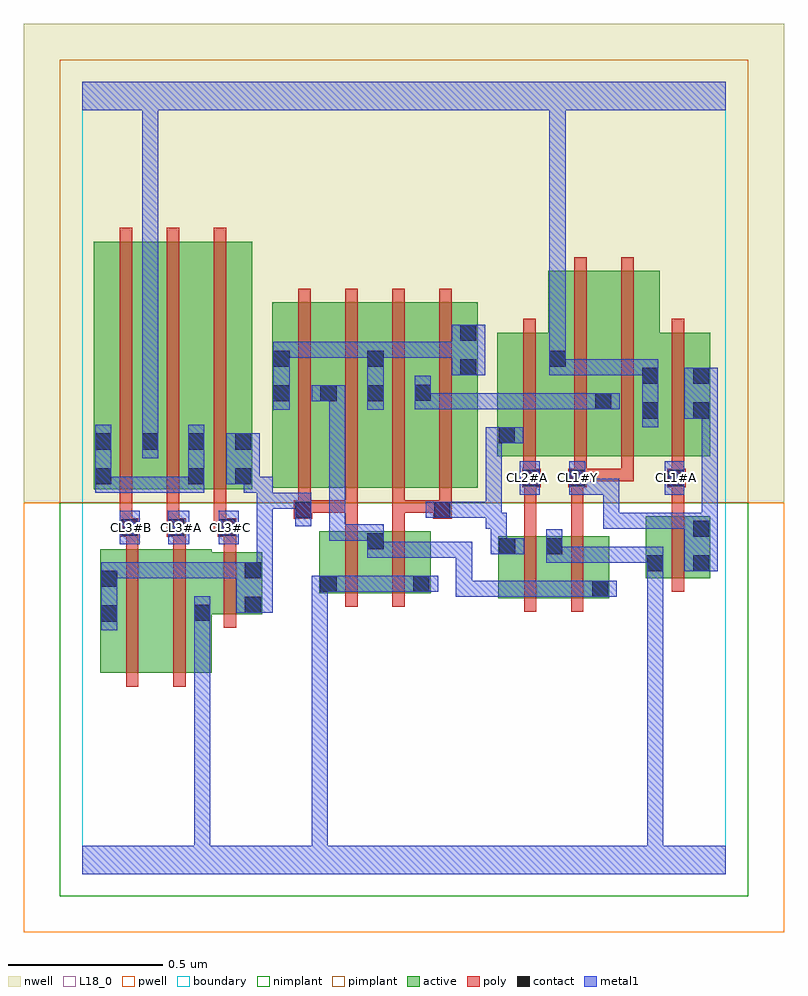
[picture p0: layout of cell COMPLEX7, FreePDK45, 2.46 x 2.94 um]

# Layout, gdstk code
import gdstk
lib = gdstk.Library(unit=1e-6, precision=1e-09)
def R(c, l, rs):  # rectangles x0, y0, x1, y1
    for r in rs: c.add(gdstk.rectangle(r[:2], r[2:], *l))
def A(c, l, x, y, w, h, nx, ny, dx, dy):  # array of equal rectangles
    R(c, l, [(x+i*dx, y+j*dy, x+i*dx+w, y+j*dy+h) for i in range(nx) for j in range(ny)])
active = (1, 0)
pwell = (2, 0)
nwell = (3, 0)
nimplant = (4, 0)
pimplant = (5, 0)
poly = (9, 0)
contact = (10, 0)
metal1 = (11, 0)
L18_0 = (18, 0)
boundary = (235, 0)

complex7 = lib.new_cell('COMPLEX7')
A(complex7, active, 0.614, 1.248, 0.212, 0.6, 3, 1, 0.152, 0)
A(complex7, active, 0.614, 1.248, 0.06, 0.596, 4, 1, 0.152, 0)
R(complex7, active, [(0.058,0.65,0.238,1.05), (0.238,0.65,0.418,1.05), (0.358,0.65,0.418,1.04), (0.058,0.756,0.118,1.05), (0.358,0.84,0.582,1.04), (0.522,0.84,0.582,1.04), (1.344,0.892,1.556,1.092), (1.496,0.892,1.704,1.092), (1.644,0.892,1.704,1.092), (0.766,0.908,0.826,1.108), (0.766,0.908,0.978,1.108), (0.918,0.908,1.126,1.108), (1.066,0.908,1.126,1.108), (0.918,0.956,0.978,1.106), (1.344,0.956,1.404,1.092), (1.496,0.956,1.556,1.092), (1.822,0.956,1.882,1.156), (1.822,0.956,2.03,1.156), (1.97,0.956,2.03,1.156), (0.038,1.244,0.098,2.044), (0.038,1.244,0.25,2.044), (0.19,1.244,0.25,2.044), (0.19,1.244,0.398,2.044), (0.338,1.244,0.398,2.044), (0.338,1.244,0.55,2.044), (0.49,1.244,0.55,2.044), (1.07,1.248,1.278,1.848), (1.342,1.35,1.402,1.644), (1.342,1.35,1.566,1.75), (1.506,1.35,1.714,1.95), (1.654,1.35,1.866,1.95), (1.654,1.35,1.714,1.844), (1.806,1.35,1.866,1.644), (1.806,1.35,2.03,1.75), (1.97,1.35,2.03,1.644), (1.506,1.396,1.566,1.696), (1.218,1.452,1.278,1.844)])
R(complex7, pwell, [(-0.188,-0.188,2.268,1.2)])
R(complex7, nwell, [(-0.188,1.2,2.268,2.748)])
R(complex7, nimplant, [(-0.072,-0.072,2.152,1.2)])
R(complex7, pimplant, [(-0.072,1.2,2.152,2.632)])
A(complex7, poly, 0.122, 1.11, 0.04, 0.13, 3, 1, 0.152, 0)
A(complex7, poly, 0.698, 1.168, 0.04, 0.076, 4, 1, 0.152, 0)
A(complex7, poly, 0.122, 1.2, 0.04, 0.888, 3, 1, 0.152, 0)
A(complex7, poly, 0.698, 1.204, 0.04, 0.688, 4, 1, 0.152, 0)
R(complex7, poly, [(0.142,0.606,0.182,1.094), (0.294,0.606,0.334,1.094), (0.458,0.796,0.498,1.084), (1.428,0.848,1.468,1.136), (1.58,0.848,1.62,1.136), (0.85,0.864,0.89,1.152), (1.002,0.864,1.042,1.152), (1.906,0.912,1.946,1.2), (0.458,1.044,0.498,1.13), (0.142,1.054,0.182,1.13), (0.294,1.054,0.334,1.13), (0.122,1.09,0.182,1.15), (0.142,1.09,0.182,1.13), (0.142,1.09,0.182,1.13), (0.274,1.09,0.334,1.15), (0.294,1.09,0.334,1.13), (0.294,1.09,0.334,1.13), (0.438,1.09,0.498,1.15), (1.428,1.096,1.468,1.29), (1.58,1.096,1.62,1.29), (0.426,1.11,0.478,1.15), (0.438,1.11,0.478,1.15), (0.85,1.112,0.89,1.208), (1.002,1.112,1.042,1.208), (0.684,1.148,0.744,1.208), (1.134,1.148,1.194,1.208), (1.906,1.16,1.946,1.29), (0.704,1.168,0.89,1.208), (0.85,1.168,0.89,1.208), (0.85,1.168,0.89,1.208), (0.85,1.168,0.89,1.208), (0.85,1.168,0.89,1.208), (0.85,1.168,0.89,1.208), (1.002,1.168,1.042,1.208), (1.002,1.168,1.042,1.208), (1.002,1.168,1.042,1.208), (1.002,1.168,1.174,1.208), (1.134,1.168,1.174,1.208), (1.134,1.168,1.174,1.208), (1.422,1.25,1.482,1.31), (1.428,1.25,1.468,1.29), (1.428,1.25,1.468,1.29), (1.57,1.25,1.63,1.31), (1.89,1.25,1.95,1.31), (1.906,1.25,1.946,1.29), (1.906,1.25,1.946,1.29), (1.426,1.27,1.466,1.346), (1.59,1.27,1.63,1.346), (1.59,1.27,1.63,1.31), (1.59,1.27,1.63,1.31), (1.59,1.27,1.63,1.31), (1.59,1.27,1.63,1.31), (1.59,1.27,1.782,1.31), (1.742,1.27,1.782,1.346), (1.742,1.27,1.782,1.31), (1.906,1.27,1.946,1.346), (1.426,1.306,1.466,1.794), (1.59,1.306,1.63,1.994), (1.742,1.306,1.782,1.994), (1.906,1.306,1.946,1.794)])
A(complex7, contact, 0.618, 1.528, 0.052, 0.052, 3, 1, 0.152, 0)
R(complex7, contact, [(0.062,0.816,0.114,0.868), (0.362,0.818,0.414,0.87), (0.526,0.844,0.578,0.896), (1.648,0.896,1.7,0.948), (0.77,0.912,0.822,0.964), (1.07,0.912,1.122,0.964), (0.062,0.928,0.114,0.98), (0.526,0.956,0.578,1.008), (1.826,0.978,1.878,1.03), (1.974,0.978,2.026,1.03), (1.348,1.034,1.4,1.086), (1.5,1.034,1.552,1.086), (0.922,1.05,0.974,1.102), (1.974,1.09,2.026,1.142), (0.126,1.094,0.178,1.146), (0.278,1.094,0.33,1.146), (0.442,1.094,0.494,1.146), (0.688,1.152,0.74,1.204), (1.138,1.152,1.19,1.204), (1.426,1.254,1.478,1.306), (1.574,1.254,1.626,1.306), (1.894,1.254,1.946,1.306), (0.042,1.26,0.094,1.312), (0.342,1.26,0.394,1.312), (0.494,1.26,0.546,1.312), (0.042,1.372,0.094,1.424), (0.194,1.372,0.246,1.424), (0.342,1.372,0.394,1.424), (0.494,1.372,0.546,1.424), (1.346,1.392,1.398,1.444), (1.81,1.472,1.862,1.524), (1.974,1.472,2.026,1.524), (1.658,1.502,1.71,1.554), (1.074,1.53,1.126,1.582), (1.81,1.584,1.862,1.636), (1.974,1.584,2.026,1.636), (1.222,1.612,1.274,1.664), (0.618,1.64,0.67,1.692), (0.922,1.64,0.974,1.692), (1.51,1.64,1.562,1.692), (1.222,1.724,1.274,1.776)])
R(complex7, metal1, [(0,0,2.08,0.092), (0.362,0.04,0.414,0.092), (0.362,0.04,0.414,0.092), (0.362,0.04,0.414,0.092), (0.362,0.04,0.414,0.092), (0.362,0.04,0.414,0.092), (0.362,0.04,0.414,0.092), (0.362,0.04,0.414,0.092), (0.362,0.04,0.414,0.092), (0.362,0.04,0.414,0.092), (0.362,0.04,0.414,0.092), (0.362,0.04,0.414,0.842), (0.742,0.04,0.794,0.092), (0.742,0.04,0.794,0.092), (0.742,0.04,0.794,0.092), (0.742,0.04,0.794,0.092), (0.742,0.04,0.794,0.092), (0.742,0.04,0.794,0.092), (0.742,0.04,0.794,0.092), (0.742,0.04,0.794,0.092), (0.742,0.04,0.794,0.092), (0.742,0.04,0.794,0.092), (0.742,0.04,0.794,0.092), (0.742,0.04,0.794,0.092), (0.742,0.04,0.794,0.964), (1.826,0.04,1.878,0.092), (1.826,0.04,1.878,0.092), (1.826,0.04,1.878,0.092), (1.826,0.04,1.878,0.092), (1.826,0.04,1.878,0.092), (1.826,0.04,1.878,0.092), (1.826,0.04,1.878,0.092), (1.826,0.04,1.878,0.092), (1.826,0.04,1.878,0.092), (1.826,0.04,1.878,0.092), (1.826,0.04,1.878,0.092), (1.826,0.04,1.878,0.092), (1.826,0.04,1.878,0.092), (1.826,0.04,1.878,0.092), (1.826,0.04,1.878,0.092), (1.826,0.04,1.878,0.092), (1.826,0.04,1.878,1.002), (0.062,0.788,0.114,1.008), (0.362,0.79,0.414,0.842), (0.362,0.79,0.414,0.842), (0.362,0.79,0.414,0.898), (0.498,0.844,0.616,1.008), (1.208,0.896,1.26,0.948), (1.208,0.896,1.442,0.948), (1.208,0.896,1.26,1.074), (1.39,0.896,1.442,0.948), (1.39,0.896,1.442,0.948), (1.39,0.896,1.442,0.948), (1.39,0.896,1.562,0.948), (1.51,0.896,1.562,0.948), (1.51,0.896,1.562,0.948), (1.51,0.896,1.562,0.948), (1.51,0.896,1.672,0.948), (1.62,0.896,1.728,0.948), (0.742,0.912,0.794,0.964), (0.742,0.912,0.794,0.964), (0.742,0.912,0.794,0.964), (0.742,0.912,0.794,0.964), (0.742,0.912,0.85,0.964), (0.798,0.912,0.85,0.964), (0.798,0.912,0.85,0.964), (0.798,0.912,0.984,0.964), (0.932,0.912,0.984,0.964), (0.932,0.912,0.984,0.964), (0.932,0.912,0.984,0.964), (0.932,0.912,1.094,0.964), (1.042,0.912,1.15,0.964), (1.826,0.95,1.878,1.058), (0.062,0.956,0.114,1.008), (0.062,0.956,0.114,1.008), (0.062,0.956,0.224,1.008), (0.172,0.956,0.224,1.008), (0.172,0.956,0.224,1.008), (0.172,0.956,0.224,1.008), (0.172,0.956,0.408,1.008), (0.356,0.956,0.408,1.008), (0.356,0.956,0.408,1.008), (0.356,0.956,0.408,1.008), (0.356,0.956,0.55,1.008), (0.564,0.956,0.616,1.284), (1.946,0.978,2.054,1.142), (1.5,1.006,1.552,1.058), (1.5,1.006,1.552,1.058), (1.5,1.006,1.552,1.114), (1.5,1.006,1.672,1.058), (1.62,1.006,1.672,1.058), (1.62,1.006,1.808,1.058), (1.756,1.006,1.808,1.058), (1.756,1.006,1.878,1.058), (1.826,1.006,1.878,1.058), (1.826,1.006,1.878,1.058), (0.922,1.022,0.974,1.074), (0.922,1.022,0.974,1.074), (0.922,1.022,0.974,1.13), (0.922,1.022,1.136,1.074), (1.084,1.022,1.136,1.074), (1.084,1.022,1.136,1.074), (1.084,1.022,1.136,1.074), (1.084,1.022,1.26,1.074), (1.208,1.022,1.26,1.074), (1.32,1.034,1.428,1.086), (1.32,1.034,1.372,1.168), (0.122,1.066,0.186,1.174), (0.278,1.066,0.346,1.174), (0.442,1.066,0.506,1.174), (0.798,1.078,0.85,1.13), (0.798,1.078,0.85,1.13), (0.798,1.078,0.85,1.13), (0.798,1.078,0.974,1.13), (0.798,1.078,0.85,1.58), (2.002,1.09,2.054,1.168), (1.304,1.116,1.356,1.204), (1.304,1.116,1.372,1.168), (1.684,1.116,1.736,1.168), (1.684,1.116,1.736,1.168), (1.684,1.116,1.888,1.168), (1.684,1.116,1.736,1.278), (1.836,1.116,1.888,1.168), (1.836,1.116,2.054,1.168), (2.002,1.116,2.054,1.168), (2.002,1.116,2.054,1.168), (2.002,1.116,2.054,1.168), (2.002,1.116,2.054,1.524), (0.688,1.124,0.74,1.232), (1.11,1.152,1.218,1.204), (1.166,1.152,1.332,1.204), (1.28,1.152,1.332,1.204), (1.28,1.152,1.356,1.204), (1.304,1.152,1.356,1.204), (1.304,1.152,1.356,1.444), (0.564,1.18,0.74,1.232), (0.564,1.18,0.616,1.284), (1.414,1.226,1.478,1.334), (1.574,1.226,1.626,1.334), (1.574,1.226,1.736,1.278), (1.882,1.226,1.946,1.334), (0.042,1.232,0.094,1.284), (0.042,1.232,0.094,1.284), (0.042,1.232,0.094,1.452), (0.042,1.232,0.224,1.284), (0.172,1.232,0.224,1.284), (0.172,1.232,0.224,1.284), (0.172,1.232,0.224,1.284), (0.172,1.232,0.394,1.284), (0.342,1.232,0.394,1.452), (0.522,1.232,0.574,1.312), (0.522,1.232,0.616,1.284), (0.564,1.232,0.616,1.284), (0.564,1.232,0.616,1.284), (0.564,1.232,0.616,1.284), (0.466,1.26,0.574,1.424), (0.194,1.344,0.246,1.452), (1.304,1.392,1.426,1.444), (0.194,1.4,0.246,2.52), (1.81,1.444,1.862,1.664), (1.946,1.472,2.054,1.636), (2.002,1.472,2.054,1.524), (2.002,1.472,2.054,1.524), (0.618,1.5,0.67,1.72), (0.922,1.5,0.974,1.72), (1.074,1.502,1.126,1.554), (1.074,1.502,1.126,1.554), (1.074,1.502,1.126,1.61), (1.074,1.502,1.246,1.554), (1.194,1.502,1.246,1.554), (1.194,1.502,1.246,1.554), (1.194,1.502,1.246,1.554), (1.194,1.502,1.442,1.554), (1.39,1.502,1.442,1.554), (1.39,1.502,1.442,1.554), (1.39,1.502,1.442,1.554), (1.39,1.502,1.562,1.554), (1.51,1.502,1.562,1.554), (1.51,1.502,1.562,1.554), (1.51,1.502,1.562,1.554), (1.51,1.502,1.562,1.554), (1.51,1.502,1.562,1.554), (1.51,1.502,1.682,1.554), (1.63,1.502,1.738,1.554), (0.742,1.528,0.85,1.58), (0.798,1.528,0.85,1.58), (0.798,1.528,0.85,1.58), (0.798,1.528,0.85,1.58), (0.798,1.528,0.85,1.58), (1.194,1.612,1.302,1.776), (1.51,1.612,1.562,1.664), (1.51,1.612,1.562,1.664), (1.51,1.612,1.562,1.72), (1.51,1.612,1.736,1.664), (1.684,1.612,1.736,1.664), (1.684,1.612,1.736,1.664), (1.684,1.612,1.736,1.664), (1.684,1.612,1.862,1.664), (0.618,1.668,0.726,1.72), (0.674,1.668,0.726,1.72), (0.674,1.668,0.85,1.72), (0.798,1.668,0.85,1.72), (0.798,1.668,0.85,1.72), (0.798,1.668,0.85,1.72), (0.798,1.668,0.974,1.72), (0.922,1.668,0.974,1.72), (0.922,1.668,0.974,1.72), (0.922,1.668,1.136,1.72), (1.084,1.668,1.136,1.72), (1.084,1.668,1.136,1.72), (1.084,1.668,1.136,1.72), (1.084,1.668,1.246,1.72), (1.51,1.668,1.562,2.52), (0,2.468,2.08,2.56), (0.194,2.468,0.246,2.52), (0.194,2.468,0.246,2.52), (0.194,2.468,0.246,2.52), (0.194,2.468,0.246,2.52), (0.194,2.468,0.246,2.52), (0.194,2.468,0.246,2.52), (0.194,2.468,0.246,2.52), (0.194,2.468,0.246,2.52), (1.51,2.468,1.562,2.52), (1.51,2.468,1.562,2.52), (1.51,2.468,1.562,2.52), (1.51,2.468,1.562,2.52), (1.51,2.468,1.562,2.52), (1.51,2.468,1.562,2.52), (1.51,2.468,1.562,2.52), (1.51,2.468,1.562,2.52), (1.51,2.468,1.562,2.52), (1.51,2.468,1.562,2.52), (1.51,2.468,1.562,2.52), (1.51,2.468,1.562,2.52)])
A(complex7, L18_0, 0.134, 1.094, 0.052, 0.052, 3, 1, 0.16, 0)
R(complex7, L18_0, [(0,0,2.08,0.092), (0.362,0.04,0.414,0.092), (0.362,0.04,0.414,0.092), (0.362,0.04,0.414,0.092), (0.362,0.04,0.414,0.092), (0.362,0.04,0.414,0.092), (0.362,0.04,0.414,0.092), (0.362,0.04,0.414,0.092), (0.362,0.04,0.414,0.092), (0.362,0.04,0.414,0.092), (0.362,0.04,0.414,0.092), (0.362,0.04,0.414,0.842), (0.742,0.04,0.794,0.092), (0.742,0.04,0.794,0.092), (0.742,0.04,0.794,0.092), (0.742,0.04,0.794,0.092), (0.742,0.04,0.794,0.092), (0.742,0.04,0.794,0.092), (0.742,0.04,0.794,0.092), (0.742,0.04,0.794,0.092), (0.742,0.04,0.794,0.092), (0.742,0.04,0.794,0.092), (0.742,0.04,0.794,0.092), (0.742,0.04,0.794,0.092), (0.742,0.04,0.794,0.964), (1.826,0.04,1.878,0.092), (1.826,0.04,1.878,0.092), (1.826,0.04,1.878,0.092), (1.826,0.04,1.878,0.092), (1.826,0.04,1.878,0.092), (1.826,0.04,1.878,0.092), (1.826,0.04,1.878,0.092), (1.826,0.04,1.878,0.092), (1.826,0.04,1.878,0.092), (1.826,0.04,1.878,0.092), (1.826,0.04,1.878,0.092), (1.826,0.04,1.878,0.092), (1.826,0.04,1.878,0.092), (1.826,0.04,1.878,0.092), (1.826,0.04,1.878,0.092), (1.826,0.04,1.878,0.092), (1.826,0.04,1.878,1.002), (0.362,0.79,0.414,0.898), (0.362,0.79,0.414,0.842), (0.362,0.79,0.414,0.842), (0.742,0.912,0.794,0.964), (0.742,0.912,0.794,0.964), (0.742,0.912,0.794,0.964), (0.742,0.912,0.794,0.964), (0.742,0.912,0.85,0.964), (0.798,0.912,0.85,0.964), (0.798,0.912,0.85,0.964), (0.798,0.912,0.984,0.964), (0.932,0.912,0.984,0.964), (0.932,0.912,0.984,0.964), (0.932,0.912,0.984,0.964), (0.932,0.912,1.094,0.964), (1.042,0.912,1.15,0.964), (1.826,0.95,1.878,1.058), (1.946,0.978,2.054,1.142), (1.5,1.006,1.552,1.114), (1.5,1.006,1.552,1.058), (1.5,1.006,1.552,1.058), (1.5,1.006,1.672,1.058), (1.62,1.006,1.672,1.058), (1.62,1.006,1.808,1.058), (1.756,1.006,1.808,1.058), (1.756,1.006,1.878,1.058), (1.826,1.006,1.878,1.058), (1.826,1.006,1.878,1.058), (0.122,1.066,0.186,1.174), (0.278,1.066,0.346,1.174), (0.442,1.066,0.506,1.174), (2.002,1.09,2.054,1.168), (1.684,1.116,1.736,1.168), (1.684,1.116,1.736,1.168), (1.684,1.116,1.736,1.278), (1.684,1.116,1.888,1.168), (1.836,1.116,1.888,1.168), (1.836,1.116,2.054,1.168), (2.002,1.116,2.054,1.168), (2.002,1.116,2.054,1.168), (2.002,1.116,2.054,1.168), (2.002,1.116,2.054,1.524), (1.414,1.226,1.478,1.334), (1.574,1.226,1.626,1.334), (1.574,1.226,1.736,1.278), (1.882,1.226,1.946,1.334), (1.414,1.254,1.466,1.306), (1.574,1.254,1.626,1.306), (1.894,1.254,1.946,1.306), (0.194,1.344,0.246,1.452), (0.194,1.4,0.246,2.52), (1.81,1.444,1.862,1.664), (1.946,1.472,2.054,1.636), (2.002,1.472,2.054,1.524), (2.002,1.472,2.054,1.524), (1.51,1.612,1.562,1.72), (1.51,1.612,1.562,1.664), (1.51,1.612,1.562,1.664), (1.51,1.612,1.736,1.664), (1.684,1.612,1.736,1.664), (1.684,1.612,1.736,1.664), (1.684,1.612,1.736,1.664), (1.684,1.612,1.862,1.664), (1.51,1.668,1.562,2.52), (0,2.468,2.08,2.56), (0.194,2.468,0.246,2.52), (0.194,2.468,0.246,2.52), (0.194,2.468,0.246,2.52), (0.194,2.468,0.246,2.52), (0.194,2.468,0.246,2.52), (0.194,2.468,0.246,2.52), (0.194,2.468,0.246,2.52), (0.194,2.468,0.246,2.52), (1.51,2.468,1.562,2.52), (1.51,2.468,1.562,2.52), (1.51,2.468,1.562,2.52), (1.51,2.468,1.562,2.52), (1.51,2.468,1.562,2.52), (1.51,2.468,1.562,2.52), (1.51,2.468,1.562,2.52), (1.51,2.468,1.562,2.52), (1.51,2.468,1.562,2.52), (1.51,2.468,1.562,2.52), (1.51,2.468,1.562,2.52), (1.51,2.468,1.562,2.52)])
R(complex7, boundary, [(0,0,2.08,2.56)])
complex7.add(gdstk.Label('CL1#A', (1.92,1.28), layer=11, texttype=0))
complex7.add(gdstk.Label('CL1#Y', (1.6,1.28), layer=11, texttype=0))
complex7.add(gdstk.Label('CL2#A', (1.44,1.28), layer=11, texttype=0))
complex7.add(gdstk.Label('CL3#A', (0.32,1.12), layer=11, texttype=0))
complex7.add(gdstk.Label('CL3#B', (0.16,1.12), layer=11, texttype=0))
complex7.add(gdstk.Label('CL3#C', (0.48,1.12), layer=11, texttype=0))

lib.write_gds('COMPLEX7.gds')
